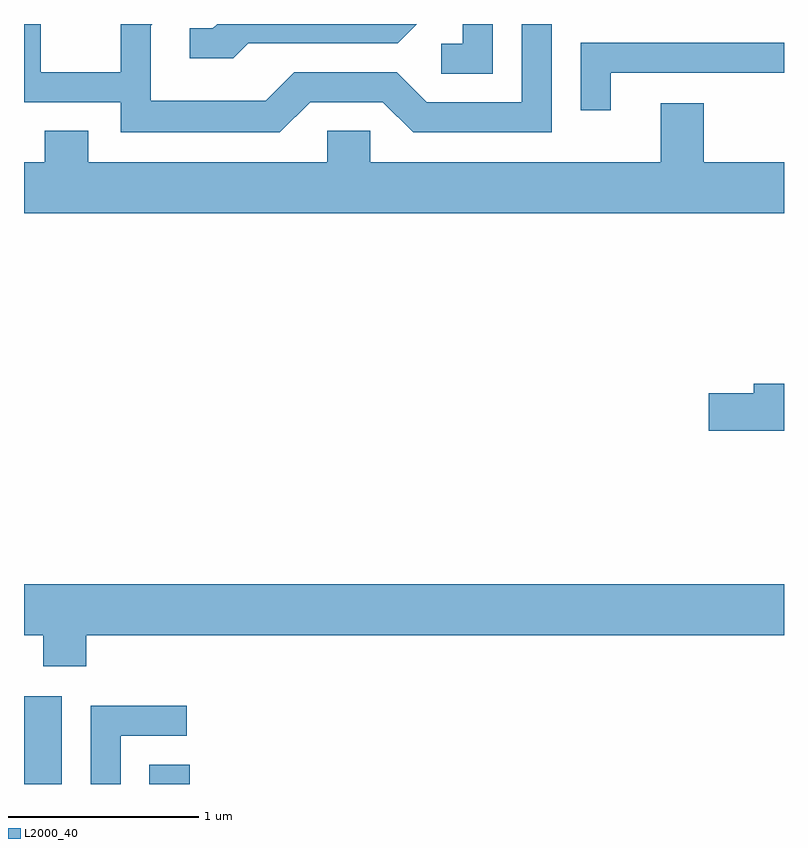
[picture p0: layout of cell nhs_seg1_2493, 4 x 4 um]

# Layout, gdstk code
import gdstk
lib = gdstk.Library(unit=1e-6, precision=1e-09)
def R(c, l, rs):  # rectangles x0, y0, x1, y1
    for r in rs: c.add(gdstk.rectangle(r[:2], r[2:], *l))
def P(c, l, *ps):  # polygons
    for p in ps: c.add(gdstk.Polygon(p, *l))
L2000_40 = (2000, 40)

nhs_seg1_2493 = lib.new_cell('nhs_seg1_2493')
R(nhs_seg1_2493, L2000_40, [(261.611,867.712,261.809,868.174), (262.271,867.712,262.484,867.814)])
P(nhs_seg1_2493, L2000_40, [(263.117,871.301),(263.499,871.301),(263.659,871.141),(264.389,871.141),(264.389,871.712),(264.231,871.712),(264.231,871.299),(263.732,871.299),(263.572,871.459),(263.034,871.459),(262.884,871.309),(262.279,871.309),(262.279,871.704),(262.287,871.712),(262.121,871.712),(262.121,871.459),(261.699,871.459),(261.699,871.712),(261.611,871.712),(261.611,871.301),(262.121,871.301),(262.121,871.141),(262.957,871.141)],
  [(264.079,871.712),(263.921,871.712),(263.921,871.609),(263.808,871.609),(263.808,871.451),(264.079,871.451)],
  [(262.792,871.611),(263.577,871.611),(263.677,871.712),(262.627,871.712),(262.604,871.689),(262.483,871.689),(262.483,871.531),(262.712,871.531)],
  [(264.699,871.456),(265.611,871.456),(265.611,871.614),(264.541,871.614),(264.541,871.258),(264.699,871.258)],
  [(265.611,870.984),(265.189,870.984),(265.189,871.294),(264.961,871.294),(264.961,870.984),(263.434,870.984),(263.434,871.149),(263.206,871.149),(263.206,870.984),(261.949,870.984),(261.949,871.149),(261.721,871.149),(261.721,870.984),(261.611,870.984),(261.611,870.716),(265.611,870.716)],
  [(265.611,869.819),(265.451,869.819),(265.451,869.769),(265.216,869.769),(265.216,869.571),(265.611,869.571)],
  [(261.939,868.496),(265.611,868.496),(265.611,868.764),(261.611,868.764),(261.611,868.496),(261.711,868.496),(261.711,868.331),(261.939,868.331)],
  [(262.119,867.966),(262.468,867.966),(262.468,868.124),(261.961,868.124),(261.961,867.712),(262.119,867.712)])

lib.write_gds('nhs_seg1_2493.gds')
